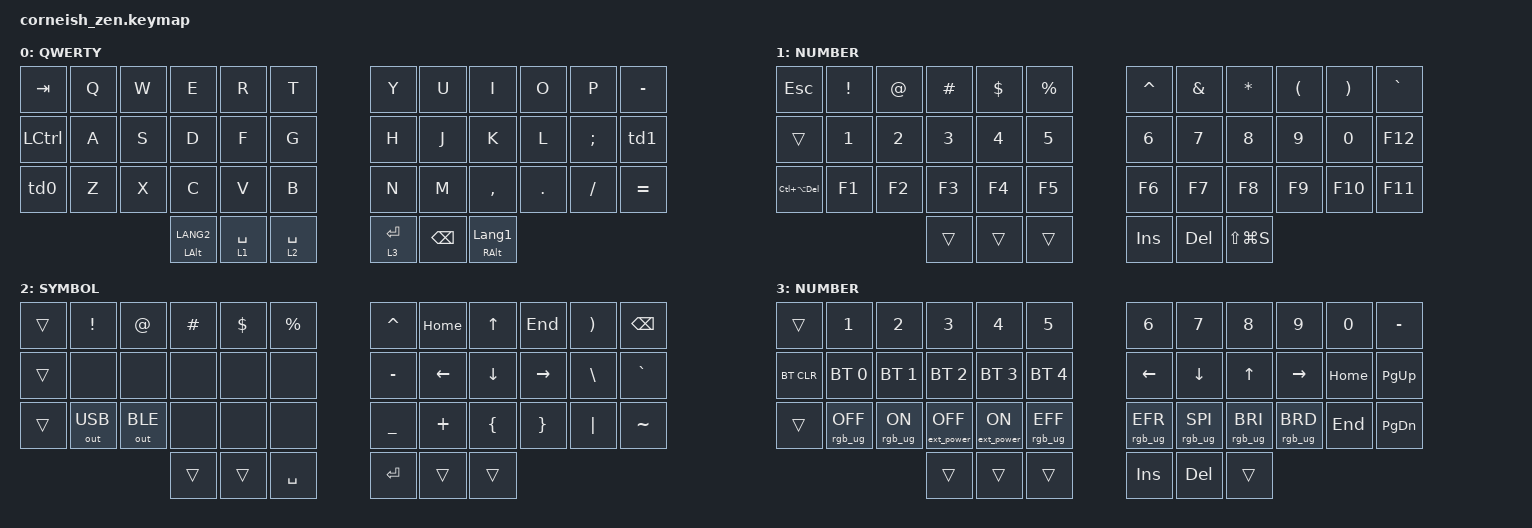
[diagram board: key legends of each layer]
/*
 * Copyright (c) 2020 The ZMK Contributors
 *
 * SPDX-License-Identifier: MIT
 */

#include <behaviors.dtsi>
#include <dt-bindings/zmk/bt.h>
#include <dt-bindings/zmk/ext_power.h>
#include <dt-bindings/zmk/keys.h>
#include <dt-bindings/zmk/outputs.h>
#include <dt-bindings/zmk/rgb.h>

/ {
    chosen {
        zmk,matrix_transform = &default_transform;

        // zmk,matrix_transform = &five_column_transform;
    };
};

/ {
    behaviors {
        td0: td0 {
            compatible = "zmk,behavior-tap-dance";
            label = "TD0";
            #binding-cells = <0>;
            bindings = <&kp LEFT_SHIFT>, <&kp LEFT_WIN>;
        };

        td1: td1 {
            compatible = "zmk,behavior-tap-dance";
            label = "TD1";
            #binding-cells = <0>;
            bindings = <&kp SQT>, <&kp ENTER>;
        };
    };

    keymap {
        compatible = "zmk,keymap";

        default_layer {
            display-name = "QWERTY";

            // --------------------------------------------------------------------------------
            // |  TAB |  Q  |  W  |  E  |  R  |  T  |   |  Y  |  U   |  I  |  O  |  P  | BKSP |
            // | CTRL |  A  |  S  |  D  |  F  |  G  |   |  H  |  J   |  K  |  L  |  ;  |  '   | 
            // | SHFT |  Z  |  X  |  C  |  V  |  B  |   |  N  |  M   |  ,  |  .  |  /  | ESC  |
            //                    | GUI | LWR | SPC |   | ENT | RSE  | ALT |

            bindings = <
&kp TAB    &kp Q  &kp W  &kp E               &kp R        &kp T          &kp Y        &kp U          &kp I                     &kp O    &kp P     &kp MINUS
&kp LCTRL  &kp A  &kp S  &kp D               &kp F        &kp G          &kp H        &kp J          &kp K                     &kp L    &kp SEMI  &td1
&td0       &kp Z  &kp X  &kp C               &kp V        &kp B          &kp N        &kp M          &kp COMMA                 &kp DOT  &kp FSLH  &kp EQUAL
                         &mt LEFT_ALT LANG2  &lt 1 SPACE  &lt 2 SPACE    &lt 3 ENTER  &kp BACKSPACE  &mt RIGHT_ALT LANGUAGE_1
            >;
        };

        number {
            display-name = "NUMBER";

            // -----------------------------------------------------------------------------------------
            // |  TAB |  1  |  2  |  3  |  4  |  5  |   |  6  |  7  |  8  |  9  |  0  | BKSP |
            // | BTCLR| BT1 | BT2 | BT3 | BT4 | BT5 |   | LFT | DWN |  UP | RGT |     |      |
            // | SHFT |     |     |     |     |     |   |     |     |     |     |     |      |
            //                    | GUI |     | SPC |   | ENT |     | ALT |

            bindings = <
&kp ESCAPE          &kp EXCLAMATION  &kp AT_SIGN   &kp HASH      &kp DOLLAR    &kp PERCENT    &kp CARET     &kp AMPERSAND  &kp ASTERISK   &kp LEFT_PARENTHESIS  &kp RIGHT_PARENTHESIS  &kp GRAVE
&trans              &kp NUMBER_1     &kp NUMBER_2  &kp NUMBER_3  &kp NUMBER_4  &kp N5         &kp NUMBER_6  &kp N7         &kp N8         &kp N9                &kp N0                 &kp F12
&kp LC(LA(DELETE))  &kp F1           &kp F2        &kp F3        &kp F4        &kp F5         &kp F6        &kp F7         &kp F8         &kp F9                &kp F10                &kp F11
                                                   &trans        &trans        &trans         &kp INS       &kp DEL        &kp LS(LG(S))
            >;
        };

        arrow {
            display-name = "SYMBOL";

            // -----------------------------------------------------------------------------------------
            // |  TAB |  !  |  @  |  #  |  $  |  %  |   |  ^  |  &  |  *  |  (  |  )  | BKSP |
            // | CTRL |     |     |     |     |     |   |  -  |  =  |  [  |  ]  |  \  |  `   |
            // | SHFT |     |     |     |     |     |   |  _  |  +  |  {  |  }  | "|" |  ~   |
            //                    | GUI |     | SPC |   | ENT |     | ALT |

            bindings = <
&trans  &kp EXCL      &kp AT        &kp HASH  &kp DLLR  &kp PRCNT    &kp CARET  &kp HOME  &kp UP_ARROW    &kp END    &kp RPAR  &kp BSPC
&trans  &none         &none         &none     &none     &none        &kp MINUS  &kp LEFT  &kp DOWN_ARROW  &kp RIGHT  &kp BSLH  &kp GRAVE
&trans  &out OUT_USB  &out OUT_BLE  &none     &none     &none        &kp UNDER  &kp PLUS  &kp LBRC        &kp RBRC   &kp PIPE  &kp TILDE
                                    &trans    &trans    &kp SPACE    &kp RET    &trans    &trans
            >;
        };

        settings {
            display-name = "NUMBER";
            bindings = <
&trans      &kp N1           &kp N2          &kp N3             &kp N4            &kp N5             &kp N6           &kp N7           &kp N8           &kp N9           &kp N0    &kp MINUS
&bt BT_CLR  &bt BT_SEL 0     &bt BT_SEL 1    &bt BT_SEL 2       &bt BT_SEL 3      &bt BT_SEL 4       &kp LEFT         &kp DOWN         &kp UP           &kp RIGHT        &kp HOME  &kp PG_UP
&trans      &rgb_ug RGB_OFF  &rgb_ug RGB_ON  &ext_power EP_OFF  &ext_power EP_ON  &rgb_ug RGB_EFF    &rgb_ug RGB_EFR  &rgb_ug RGB_SPI  &rgb_ug RGB_BRI  &rgb_ug RGB_BRD  &kp END   &kp PG_DN
                                             &trans             &trans            &trans             &kp INS          &kp DEL          &trans
            >;
        };
    };
};
